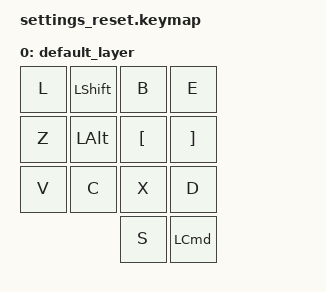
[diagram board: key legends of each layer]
/*
 * Copyright (c) 2021 Nick Winans
 *
 * SPDX-License-Identifier: MIT
 */

#include <behaviors.dtsi>
#include <dt-bindings/zmk/keys.h>
#include <dt-bindings/zmk/rgb.h>
#include <dt-bindings/zmk/bt.h>

/ {
    keymap {
        compatible = "zmk,keymap";

        default_layer {
// ---------------------------
// |  L  | SHIFT |  B  |  E  |
// |  Z  |  OPT  |  [  |  ]  |
// |  V  |   C   |  X  |  D  |
// |     |       |  S  | CMD |
// ---------------------------
// https://www.reddit.com/r/ProCreate/comments/1it19t6/procreate_keyboard_shortcuts/
            
            bindings = <
    &kp L  &kp LSHFT &kp B     &kp E
    &kp Z  &kp LALT  &kp LBKT  &kp RBKT
    &kp V  &kp C     &kp X     &kp D
                     &kp S     &kp LCMD
            >;
        };
    };
};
